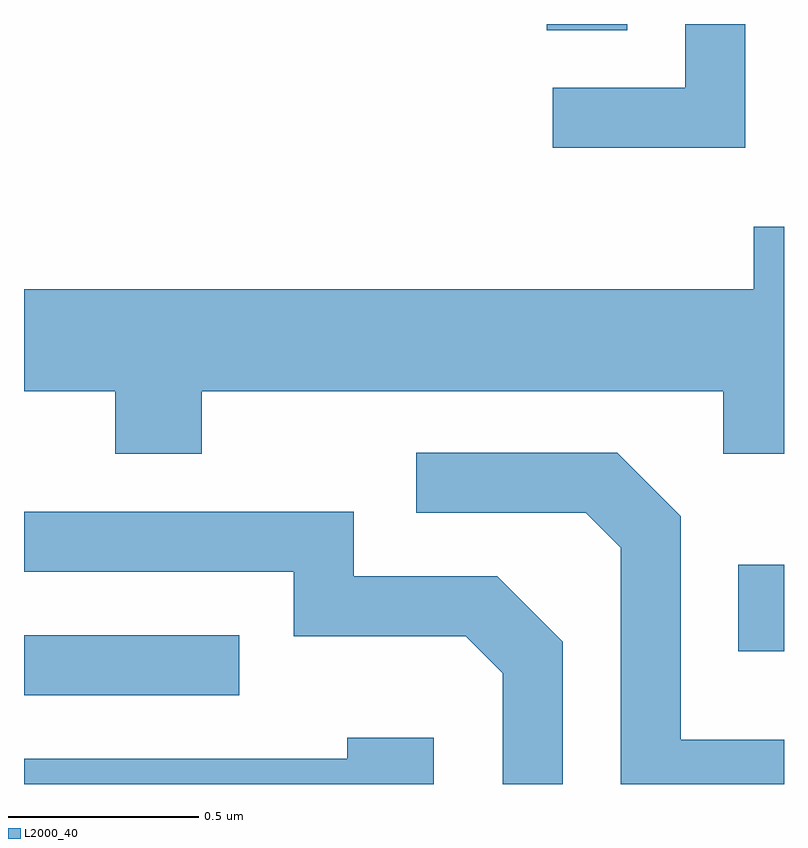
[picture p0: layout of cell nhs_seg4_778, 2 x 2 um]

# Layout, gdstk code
import gdstk
lib = gdstk.Library(unit=1e-6, precision=1e-09)
def R(c, l, rs):  # rectangles x0, y0, x1, y1
    for r in rs: c.add(gdstk.rectangle(r[:2], r[2:], *l))
def P(c, l, *ps):  # polygons
    for p in ps: c.add(gdstk.Polygon(p, *l))
L2000_40 = (2000, 40)

nhs_seg4_778 = lib.new_cell('nhs_seg4_778')
R(nhs_seg4_778, L2000_40, [(190.611,1347.216,191.178,1347.374), (192.491,1347.331,192.611,1347.559), (191.986,1348.966,192.199,1348.982)])
P(nhs_seg4_778, L2000_40, [(192.509,1348.982),(192.351,1348.982),(192.351,1348.814),(192.003,1348.814),(192.003,1348.656),(192.509,1348.656)],
  [(191.079,1348.016),(192.451,1348.016),(192.451,1347.851),(192.611,1347.851),(192.611,1348.449),(192.531,1348.449),(192.531,1348.284),(190.611,1348.284),(190.611,1348.016),(190.851,1348.016),(190.851,1347.851),(191.079,1347.851)],
  [(192.611,1347.099),(192.339,1347.099),(192.339,1347.687),(192.172,1347.854),(191.643,1347.854),(191.643,1347.696),(192.089,1347.696),(192.181,1347.604),(192.181,1346.982),(192.611,1346.982)],
  [(192.029,1347.357),(191.857,1347.529),(191.479,1347.529),(191.479,1347.699),(190.611,1347.699),(190.611,1347.541),(191.321,1347.541),(191.321,1347.371),(191.774,1347.371),(191.871,1347.274),(191.871,1346.982),(192.029,1346.982)],
  [(191.689,1347.104),(191.461,1347.104),(191.461,1347.049),(190.611,1347.049),(190.611,1346.982),(191.689,1346.982)])

lib.write_gds('nhs_seg4_778.gds')
